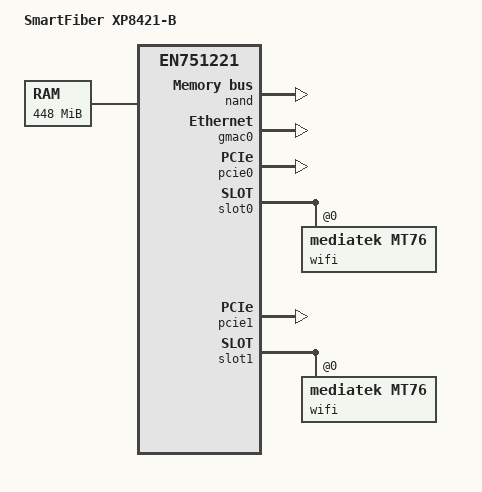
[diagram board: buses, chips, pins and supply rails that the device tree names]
// SPDX-License-Identifier: (GPL-2.0-only OR BSD-2-Clause)
/dts-v1/;

#include "en751221.dtsi"

/ {
	model = "SmartFiber XP8421-B";
	compatible = "smartfiber,xp8421-b", "econet,en751221";

	memory@0 {
		device_type = "memory";
		reg = <0x00000000 0x1c000000>;
	};

	chosen {
		stdout-path = "/serial@1fbf0000:115200";
		linux,usable-memory-range = <0x00020000 0x1bfe0000>;
	};
};

&nand {
	status = "okay";
	econet,bmt;

	partitions {
		compatible = "fixed-partitions";
		#address-cells = <1>;
		#size-cells = <1>;

		partition@0 {
			label = "bootloader";
			reg = <0x0 0x40000>;
			read-only;

			nvmem-layout {
				compatible = "fixed-layout";
				#address-cells = <1>;
				#size-cells = <1>;

				macaddr_bootloader_ff48: macaddr@ff48 {
					compatible = "mac-base";
					reg = <0xff48 0x6>;
					#nvmem-cell-cells = <1>;
				};
			};
		};

		partition@40000 {
			label = "romfile";
			reg = <0x40000 0x40000>;
		};

		partition@80000 {
			label = "tclinux";
			reg = <0x80000 0x1400000>;
			econet,enable-remap;
		};

		partition@480000 {
			label = "rootfs";
			reg = <0x480000 0xf80000>;
			linux,rootfs;
		};

		partition@1480000 {
			label = "tclinux_alt";
			reg = <0x1480000 0x1400000>;
		};

		partition@2880000 {
			label = "openjdk";
			reg = <0x2880000 0x2000000>;
		};

		partition@4880000 {
			label = "ubifs";
			reg = <0x4880000 0x9100000>;
		};

		partition@d980000 {
			label = "unknown";
			reg = <0xd980000 0x4c0000>;
		};

		partition@de40000 {
			label = "reservearea";
			reg = <0xde40000 0x1c0000>;

			nvmem-layout {
				compatible = "fixed-layout";
				#address-cells = <1>;
				#size-cells = <1>;

				eeprom_reserve_140000: eeprom@140000 {
					/* MT7592 */
					reg = <0x140000 0x200>;
				};

				eeprom_reserve_180040: eeprom@180040 {
					/* MT7612E */
					reg = <0x180040 0x600>;
				};
			};
		};
	};
};

&gmac0 {
	status = "okay";
	nvmem-cells = <&macaddr_bootloader_ff48 0>;
	nvmem-cell-names = "mac-address";
};

&pcie0 {
	status = "okay";
};
&slot0 {
	wifi@0,0 {
		/* MT7612E */
		compatible = "mediatek,mt76";
		reg = <0x0000 0 0 0 0>;
		nvmem-cells = <&eeprom_reserve_180040>, <&macaddr_bootloader_ff48 1>;
		nvmem-cell-names = "eeprom", "mac-address";
	};
};
&pcie1 {
	status = "okay";
};
&slot1 {
	wifi@0,0 {
		/* MT7592 */
		compatible = "mediatek,mt76";
		reg = <0x0000 0 0 0 0>;
		nvmem-cells = <&eeprom_reserve_140000>, <&macaddr_bootloader_ff48 2>;
		nvmem-cell-names = "eeprom", "mac-address";
	};
};
